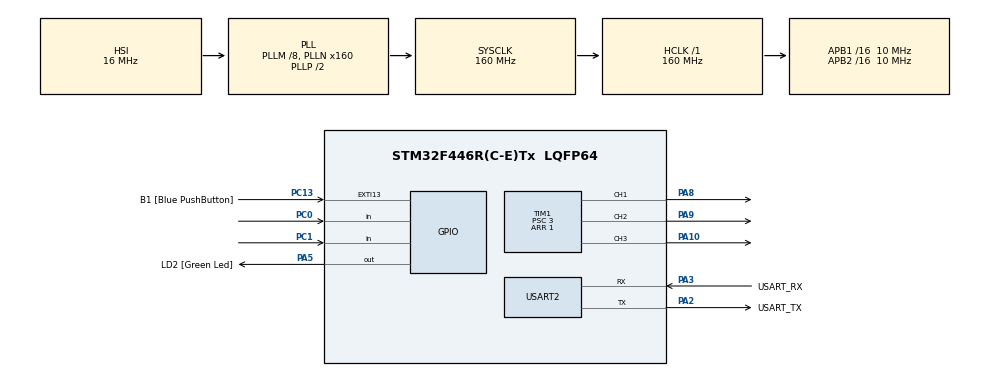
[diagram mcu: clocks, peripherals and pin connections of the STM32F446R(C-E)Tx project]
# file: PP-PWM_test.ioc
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Mcu.Family=STM32F4
Mcu.Name=STM32F446R(C-E)Tx
Mcu.Package=LQFP64
NVIC.PriorityGroup=NVIC_PRIORITYGROUP_0
NVIC.TIM1_UP_TIM10_IRQn=true\:0\:0\:false\:false\:true\:true\:true\:true
NVIC.TIM2_IRQn=true\:0\:0\:false\:false\:true\:true\:true\:true
NVIC.TIM6_DAC_IRQn=true\:0\:0\:false\:false\:true\:true\:true\:true
NVIC.TIM7_IRQn=true\:0\:0\:false\:false\:true\:true\:true\:true
PA10.Signal=S_TIM1_CH3
PA13.GPIO_Label=TMS
PA13.Mode=Serial_Wire
PA13.Signal=SYS_JTMS-SWDIO
PA14.GPIO_Label=TCK
PA14.Mode=Serial_Wire
PA14.Signal=SYS_JTCK-SWCLK
PA2.GPIO_Label=USART_TX
PA2.Mode=Asynchronous
PA2.Signal=USART2_TX
PA3.GPIO_Label=USART_RX
PA3.Mode=Asynchronous
PA3.Signal=USART2_RX
PA5.GPIO_Label=LD2 [Green Led]
PA5.Signal=GPIO_Output
PA8.Signal=S_TIM1_CH1
PA9.Signal=S_TIM1_CH2
PB3.GPIO_Label=SWO
PB3.Signal=SYS_JTDO-SWO
PC0.GPIO_PuPd=GPIO_PULLUP
PC0.Signal=GPIO_Input
PC1.GPIO_PuPd=GPIO_PULLUP
PC1.Signal=GPIO_Input
PC13.GPIO_Label=B1 [Blue PushButton]
PC13.GPIO_ModeDefaultEXTI=GPIO_MODE_IT_FALLING
PC13.Signal=GPXTI13
PC14-OSC32_IN.Mode=LSE-External-Oscillator
PC14-OSC32_IN.Signal=RCC_OSC32_IN
PC15-OSC32_OUT.Mode=LSE-External-Oscillator
PC15-OSC32_OUT.Signal=RCC_OSC32_OUT
PH0-OSC_IN.Mode=HSE-External-Oscillator
PH0-OSC_IN.Signal=RCC_OSC_IN
PH1-OSC_OUT.Mode=HSE-External-Oscillator
PH1-OSC_OUT.Signal=RCC_OSC_OUT
ProjectManager.HeapSize=0x200
ProjectManager.StackSize=0x400
ProjectManager.TargetToolchain=STM32CubeIDE
RCC.48MHZClocksFreq_Value=84000000
RCC.AHBFreq_Value=160000000
RCC.APB1CLKDivider=RCC_HCLK_DIV16
RCC.APB1Freq_Value=10000000
RCC.APB1TimFreq_Value=20000000
RCC.APB2CLKDivider=RCC_HCLK_DIV16
RCC.APB2Freq_Value=10000000
RCC.APB2TimFreq_Value=20000000
RCC.CortexFreq_Value=160000000
RCC.FLatency-AdvancedSettings=FLASH_LATENCY_5
RCC.HCLKFreq_Value=160000000
RCC.HSE_VALUE=8000000
RCC.HSI_VALUE=16000000
RCC.PLLM=8
RCC.PLLN=160
RCC.SYSCLKFreq_VALUE=160000000
RCC.SYSCLKSource=RCC_SYSCLKSOURCE_PLLCLK
RCC.USBFreq_Value=160000000
RCC.VCOOutputFreq_Value=320000000
SH.S_TIM1_CH1.0=TIM1_CH1,PWM Generation1 CH1
SH.S_TIM1_CH2.0=TIM1_CH2,PWM Generation2 CH2
SH.S_TIM1_CH3.0=TIM1_CH3,PWM Generation3 CH3
TIM1.AutoReloadPreload=TIM_AUTORELOAD_PRELOAD_DISABLE
TIM1.Channel-PWM\ Generation1\ CH1=TIM_CHANNEL_1
TIM1.Channel-PWM\ Generation2\ CH2=TIM_CHANNEL_2
TIM1.Channel-PWM\ Generation3\ CH3=TIM_CHANNEL_3
TIM1.ClockDivision=TIM_CLOCKDIVISION_DIV1
TIM1.CounterMode=TIM_COUNTERMODE_CENTERALIGNED3
TIM1.Period=1
TIM1.Prescaler=3
TIM2.Period=1
TIM6.AutoReloadPreload=TIM_AUTORELOAD_PRELOAD_DISABLE
TIM6.Period=1
TIM6.Prescaler=1
TIM7.Period=2500
USART2.VirtualMode=VM_ASYNC
VP_TIM1_VS_ClockSourceINT.Mode=Internal
VP_TIM2_VS_ClockSourceINT.Mode=Internal
VP_TIM6_VS_ClockSourceINT.Mode=Enable_Timer
VP_TIM7_VS_ClockSourceINT.Mode=Enable_Timer
board=NUCLEO-F446RE

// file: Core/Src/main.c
/* USER CODE BEGIN Header */
/**
  ******************************************************************************
  * @file           : main.c
  * @brief          : Main program body
  ******************************************************************************
  * @attention
  *
  * Copyright (c) 2026 STMicroelectronics.
  * All rights reserved.
  *
  * This software is licensed under terms that can be found in the LICENSE file
  * in the root directory of this software component.
  * If no LICENSE file comes with this software, it is provided AS-IS.
  *
  ******************************************************************************
  */
/* USER CODE END Header */
#include "main.h"

/* USER CODE BEGIN Includes */
#include<stdlib.h>
#include<stdint.h>
#include "lut.h"
/* USER CODE END Includes */

/* USER CODE BEGIN PTD */
enum pulse_type{
	Async,
	SyncMp,
	S3p,
	W3p,
	CHM,
	SHE,
	HO
};
/* USER CODE END PTD */

TIM_HandleTypeDef htim1;
TIM_HandleTypeDef htim2;
TIM_HandleTypeDef htim6;
TIM_HandleTypeDef htim7;

UART_HandleTypeDef huart2;

/* USER CODE BEGIN PV */
uint32_t alpha_sort[3][90];
uint32_t alpha_est[3][90];
uint16_t alpha_cur[3][90];
int randnum;
int alpha_num = 7;
int alpha_num_cur = 7;
float ratio = 0.0;
float AMP;
float OFFSET;
float dutyu;
float dutyv;
float dutyw;
float dutyun;
float dutyvn;
float dutywn;
float Asdutyu;
float Asdutyv;
float Asdutyw;
int dir;
int motorState = 0;
int ampINT = 0;
int transit = 0;//Async->0 PP-PWM->1 Sync->2
float frq;
float basfrq = 1;
float basfrq_Jerk = 0.0;
int JerkPole;
int tca_cnt = 0;
int tcb_cnt = 0;
int tcb2_cnt = 0;
int pulse_mode;
int currient_pulse;
int pnum_PWM;
int pnum_temp;
float PER;
float PER_PWM;
/* USER CODE END PV */

void SystemClock_Config(void);
static void MX_GPIO_Init(void);
static void MX_USART2_UART_Init(void);
static void MX_TIM1_Init(void);
static void MX_TIM6_Init(void);
static void MX_TIM2_Init(void);
static void MX_TIM7_Init(void);
/* USER CODE BEGIN PFP */

float min(float a, float b);
float max(float a, float b);
void swap (uint32_t *x, uint32_t *y);
void shell_sort (void);
void makePER(const int alpha[][alpha_num], const int pole[], int amp);

/* USER CODE END PFP */

/* USER CODE BEGIN 0 */
void HAL_TIM_PeriodElapsedCallback(TIM_HandleTypeDef *htim){
    if(htim == &htim1){
    	if(transit == 0){
    		PER_PWM = 2500000 / frq;
    		dutyu = Asdutyu * AMP / 32767 + OFFSET;
    		dutyv = Asdutyv * AMP / 32767 + OFFSET;
    		dutyw = Asdutyw * AMP / 32767 + OFFSET;
    	}
    	else if(transit == 2){
    		PER_PWM = 2500000 / (basfrq*pnum_PWM);
    		pnum_temp = (pnum_PWM*2)/3;
    		if(TIM1->CNT > (uint16_t)(PER_PWM/2)){
    			dutyu = SYNC[(pnum_PWM-3)/6 - 1][tca_cnt%(pnum_PWM*2)] * AMP / 32767 + OFFSET;
    		    dutyv = SYNC[(pnum_PWM-3)/6 - 1][(tca_cnt+pnum_temp)%(pnum_PWM*2)] * AMP / 32767 + OFFSET;
    		    dutyw = SYNC[(pnum_PWM-3)/6 - 1][(tca_cnt+pnum_temp*2)%(pnum_PWM*2)] * AMP / 32767 + OFFSET;
    		    tca_cnt++;
    		    if(tca_cnt >= (pnum_PWM*2)){
    		    	if(pulse_mode == 0 && transit == 2){
    		    		transit = 0;
    		    		tcb2_cnt = 0;
    		    	}
    		    	else if(pulse_mode >= 2 && transit == 2){
    		    		HAL_TIM_PWM_Stop(&htim1, TIM_CHANNEL_1);
    		    		HAL_TIM_PWM_Stop(&htim1, TIM_CHANNEL_2);
    		    		HAL_TIM_PWM_Stop(&htim1, TIM_CHANNEL_3);
    		    		GPIO_InitTypeDef GPIO_InitStruct;
    		    		GPIO_InitStruct.Pin = GPIO_PIN_8 | GPIO_PIN_9 | GPIO_PIN_10;
    		    		GPIO_InitStruct.Mode = GPIO_MODE_OUTPUT_PP;
    		    		GPIO_InitStruct.Pull = GPIO_NOPULL;
    		    		GPIO_InitStruct.Speed = GPIO_SPEED_FREQ_HIGH;
    		    		HAL_GPIO_Init(GPIOA, &GPIO_InitStruct);
    		    		transit = 1;
    		    		tcb_cnt = 0;
    		    	}
    		    	tca_cnt = 0;
    		    }
    		}
    		else{
    			dutyu = SYNC[(pnum_PWM-3)/6 - 1][tca_cnt%(pnum_PWM*2)] * AMP / 32767 + OFFSET;
    		    dutyv = SYNC[(pnum_PWM-3)/6 - 1][(tca_cnt+pnum_temp)%(pnum_PWM*2)] * AMP / 32767 + OFFSET;
    		    dutyw = SYNC[(pnum_PWM-3)/6 - 1][(tca_cnt+pnum_temp*2)%(pnum_PWM*2)] * AMP / 32767 + OFFSET;
    		    tca_cnt++;
    		}
    	}
    	/*if(transit == 0 || pulse_mode <= 1){
    		if(pulse_mode == 0){
    			PER_PWM = 2500000 / frq;
    			dutyu = Asdutyu * AMP / 32767 + OFFSET;
    			dutyv = Asdutyv * AMP / 32767 + OFFSET;
    			dutyw = Asdutyw * AMP / 32767 + OFFSET;
    		}
    		else{
    			PER_PWM = 2500000 / (basfrq*pnum_PWM);
    			pnum_temp = (pnum_PWM*2)/3;
    			if(TIM1->CNT > (uint16_t)(PER_PWM/2)){
    				dutyu = SYNC[(pnum_PWM-3)/6 - 1][tca_cnt%(pnum_PWM*2)] * AMP / 32767 + OFFSET;
    			    dutyv = SYNC[(pnum_PWM-3)/6 - 1][(tca_cnt+pnum_temp)%(pnum_PWM*2)] * AMP / 32767 + OFFSET;
    			    dutyw = SYNC[(pnum_PWM-3)/6 - 1][(tca_cnt+pnum_temp*2)%(pnum_PWM*2)] * AMP / 32767 + OFFSET;
    			    tca_cnt++;
    			    if(tca_cnt >= (pnum_PWM*2)){
    			    	tca_cnt = 0;
    			    }
    			}
    			else{
    			    dutyu = SYNC[(pnum_PWM-3)/6 - 1][tca_cnt%(pnum_PWM*2)] * AMP / 32767 + OFFSET;
    			    dutyv = SYNC[(pnum_PWM-3)/6 - 1][(tca_cnt+pnum_temp)%(pnum_PWM*2)] * AMP / 32767 + OFFSET;
    			    dutyw = SYNC[(pnum_PWM-3)/6 - 1][(tca_cnt+pnum_temp*2)%(pnum_PWM*2)] * AMP / 32767 + OFFSET;
    			    tca_cnt++;
    			}
    		}
    	}*/
    	TIM1->ARR = (uint16_t)PER_PWM;
    	TIM1->CCR1 = (uint16_t)(PER_PWM*dutyu);
    	TIM1->CCR2 = (uint16_t)(PER_PWM*dutyv);
    	TIM1->CCR3 = (uint16_t)(PER_PWM*dutyw);
    }
    if(htim == &htim6){
    	if(tcb_cnt == 0){
    		if(pulse_mode == 0 && transit == 1){
    			GPIO_InitTypeDef GPIO_InitStruct;
    			GPIO_InitStruct.Pin = GPIO_PIN_8 | GPIO_PIN_9 | GPIO_PIN_10;
    			GPIO_InitStruct.Mode = GPIO_MODE_AF_PP;
    			GPIO_InitStruct.Pull = GPIO_NOPULL;
    			GPIO_InitStruct.Speed = GPIO_SPEED_FREQ_HIGH;
    			GPIO_InitStruct.Alternate = GPIO_AF1_TIM1;
    			HAL_GPIO_Init(GPIOA, &GPIO_InitStruct);
    			HAL_TIM_PWM_Start(&htim1, TIM_CHANNEL_1);
    			HAL_TIM_PWM_Start(&htim1, TIM_CHANNEL_2);
    			HAL_TIM_PWM_Start(&htim1, TIM_CHANNEL_3);
    			tcb2_cnt = 0;
    			transit = 0;

    		}
    		else if(pulse_mode == 1 && transit == 1){
    			GPIO_InitTypeDef GPIO_InitStruct;
    			GPIO_InitStruct.Pin = GPIO_PIN_8 | GPIO_PIN_9 | GPIO_PIN_10;
    			GPIO_InitStruct.Mode = GPIO_MODE_AF_PP;
    			GPIO_InitStruct.Pull = GPIO_NOPULL;
    			GPIO_InitStruct.Speed = GPIO_SPEED_FREQ_HIGH;
    			GPIO_InitStruct.Alternate = GPIO_AF1_TIM1;
    			HAL_GPIO_Init(GPIOA, &GPIO_InitStruct);
    			HAL_TIM_PWM_Start(&htim1, TIM_CHANNEL_1);
    			HAL_TIM_PWM_Start(&htim1, TIM_CHANNEL_2);
    			HAL_TIM_PWM_Start(&htim1, TIM_CHANNEL_3);
    			tca_cnt = 0;
    			transit = 2;
    		}
    		alpha_num_cur = alpha_num;
    		for(int i = 0; i < alpha_num_cur*12+6; i++){
    			alpha_cur[0][i] = (uint16_t)(alpha_est[0][i]);
    			alpha_cur[1][i] = (uint16_t)(alpha_est[1][i]);
    			alpha_cur[2][i] = (uint16_t)(alpha_est[2][i]);
    		}
    		HAL_GPIO_WritePin(GPIOA, GPIO_PIN_9, GPIO_PIN_SET);
    		HAL_GPIO_WritePin(GPIOA, GPIO_PIN_10, GPIO_PIN_RESET);
    	}
    	if(alpha_cur[1][tcb_cnt] == 1){
    		if(alpha_cur[2][tcb_cnt]==1){HAL_GPIO_WritePin(GPIOA, GPIO_PIN_8, GPIO_PIN_SET);}
    		else if(alpha_cur[2][tcb_cnt]==2){HAL_GPIO_WritePin(GPIOA, GPIO_PIN_9, GPIO_PIN_SET);}
    		else if(alpha_cur[2][tcb_cnt]==4){HAL_GPIO_WritePin(GPIOA, GPIO_PIN_10, GPIO_PIN_SET);}
    		}
    	else if(alpha_cur[1][tcb_cnt] == 0){
    		if(alpha_cur[2][tcb_cnt]==1){HAL_GPIO_WritePin(GPIOA, GPIO_PIN_8, GPIO_PIN_RESET);}
    		else if(alpha_cur[2][tcb_cnt]==2){HAL_GPIO_WritePin(GPIOA, GPIO_PIN_9, GPIO_PIN_RESET);}
    		else if(alpha_cur[2][tcb_cnt]==4){HAL_GPIO_WritePin(GPIOA, GPIO_PIN_10, GPIO_PIN_RESET);}
    	}
    	TIM6->ARR = alpha_cur[0][tcb_cnt];
    	tcb_cnt += 1;
    	if(tcb_cnt > alpha_num_cur*12+6 - 1){tcb_cnt = 0;}
    }
    if(htim == &htim2){
    	if(tcb2_cnt == 0){
    		if(pulse_mode >= 2 && transit == 0){
    			HAL_TIM_PWM_Stop(&htim1, TIM_CHANNEL_1);
    			HAL_TIM_PWM_Stop(&htim1, TIM_CHANNEL_2);
    			HAL_TIM_PWM_Stop(&htim1, TIM_CHANNEL_3);
    			GPIO_InitTypeDef GPIO_InitStruct;
    			GPIO_InitStruct.Pin = GPIO_PIN_8 | GPIO_PIN_9 | GPIO_PIN_10;
    			GPIO_InitStruct.Mode = GPIO_MODE_OUTPUT_PP;
    			GPIO_InitStruct.Pull = GPIO_NOPULL;
    			GPIO_InitStruct.Speed = GPIO_SPEED_FREQ_HIGH;
    			HAL_GPIO_Init(GPIOA, &GPIO_InitStruct);
    			transit = 1;
    			tcb_cnt = 0;
    		}
    		else if(pulse_mode == 1 && transit == 0){
    			transit = 2;
    			tca_cnt = 0;
    		}
    	}
    	TIM2->ARR = (uint32_t)(303030.30303 / basfrq);
    	if(pulse_mode == 0 || transit == 0){
    		Asdutyu = SYNC[4][tcb2_cnt%66];
    		Asdutyv = SYNC[4][(tcb2_cnt+22)%66];
    		Asdutyw = SYNC[4][(tcb2_cnt+44)%66];
    	}
    	tcb2_cnt++;
    	tcb2_cnt %= 66;
    }
    if(htim == &htim7){
    	basfrq += (0.0005 * dir);
    	if(JerkPole != 0){basfrq_Jerk += (0.008*JerkPole);}
    	randnum = rand();
    }
}
/* USER CODE END 0 */

int main(void)
{

  /* MCU Configuration--------------------------------------------------------*/

  /* Reset of all peripherals, Initializes the Flash interface and the Systick. */
  HAL_Init();

  /* Configure the system clock */
  SystemClock_Config();

  /* Initialize all configured peripherals */
  MX_GPIO_Init();
  MX_USART2_UART_Init();
  MX_TIM1_Init();
  MX_TIM6_Init();
  MX_TIM2_Init();
  MX_TIM7_Init();
  /* USER CODE BEGIN 2 */
  makePER(_7alpha, _7alpha_pole, ampINT);
  HAL_TIM_Base_Start_IT(&htim1);
  HAL_TIM_Base_Start_IT(&htim2);
  HAL_TIM_Base_Start_IT(&htim6);
  HAL_TIM_Base_Start_IT(&htim7);
  HAL_TIM_PWM_Start(&htim1, TIM_CHANNEL_1);
  HAL_TIM_PWM_Start(&htim1, TIM_CHANNEL_2);
  HAL_TIM_PWM_Start(&htim1, TIM_CHANNEL_3);

  pulse_mode = Async;
  frq = 525;
  basfrq = 0.1;
  AMP = min(max(basfrq * 0.0103, 0), 1);
  OFFSET = min(max(0.5 - basfrq * 0.00515, 0), 0.5);
  /* USER CODE END 2 */

  /* Infinite loop */
  /* USER CODE BEGIN WHILE */
  while (1)
  {
	  if(basfrq < 0.1){basfrq = 0.1;}
	  if ((GPIOC->IDR & GPIO_PIN_0) == 0){
		  //acceleration setting
		  motorState = 1;
		  if(basfrq_Jerk < basfrq){
			  JerkPole = 1;
			  ratio = min(max(basfrq_Jerk * 7.731 - 5.8903, 1), 501);
			  AMP = min(max(basfrq_Jerk * 0.0185, 0), 1);
	          OFFSET = min(max(0.5 - basfrq_Jerk * 0.00925, 0), 0.5);
		  }
		  else{
			  dir = 1;
			  JerkPole = 0;
			  basfrq_Jerk = basfrq + 1;
			  ratio = min(max(basfrq * 7.731 - 5.8903, 1), 501);
			  AMP = min(max(basfrq * 0.0185, 0), 1);
			  OFFSET = min(max(0.5 - basfrq * 0.00925, 0), 0.5);
		  }
	  }
	  else if ((GPIOC->IDR & GPIO_PIN_1) == 0){
		  motorState = -1;
		  if(basfrq_Jerk < basfrq){
			  JerkPole = 1;
			  ratio = min(max(basfrq_Jerk * 6.863, 1), 501);
			  AMP = min(max(basfrq_Jerk * 0.0103, 0), 1);
	            OFFSET = min(max(0.5 - basfrq_Jerk * 0.00515, 0), 0.5);
	  		}
	  		else{
	  			dir = -1;
	  			JerkPole = 0;
	  			basfrq_Jerk = basfrq;
	  			ratio = min(max(basfrq * 6.863, 1), 501);
	  			AMP = min(max(basfrq * 0.0103, 0), 1);
	            OFFSET = min(max(0.5 - basfrq * 0.00515, 0), 0.5);
	  		}
	  	}
	  	else{
	  		dir = 0;
	  		if(basfrq_Jerk > 0){
	  			JerkPole = -1;
	  			ratio = min(max(basfrq_Jerk * 6.863, 10), 501);
	  			AMP = min(max(basfrq_Jerk * 0.0103, 0), 1);
	            OFFSET = min(max(0.5 - basfrq_Jerk * 0.00515, 0), 0.5);
	  		}
	  		else{
	  			JerkPole = 0;
	  			basfrq_Jerk = 0;
	  			motorState = 0;
	  		}
	  	}

	  	if(motorState == 1){
	  		/*if(basfrq >= 80 && dir == 1){alpha_num = 0;}
	  		else if(basfrq >= 59){pulse_mode = CHM;alpha_num = 1;}
	  		else if(basfrq >= 57){pulse_mode = CHM;alpha_num = 2;}
	  		else if(basfrq >= 43.5){pulse_mode = CHM;alpha_num = 3;}
	  		else if(basfrq >= 37){pulse_mode = CHM;alpha_num = 4;}
	  		else if(basfrq >= 30){pulse_mode = CHM;alpha_num = 5;}
	  		else if(basfrq >= 27){pulse_mode = CHM;alpha_num = 6;}
	      	else if(basfrq >= 24){pulse_mode = CHM;alpha_num = 7;}
	  		else if(basfrq >= 0){pulse_mode = Async;frq = 400;}*/

	  		/*if(basfrq >= 80 && dir == 1){pulse_mode = CHM;alpha_num = 0;}
	  		else if(basfrq >= 80){pulse_mode = CHM;alpha_num = 1;}
	  		else if(basfrq >= 65){pulse_mode = CHM;alpha_num = 2;}
	  		else if(basfrq >= 63){pulse_mode = CHM;alpha_num = 3;}
	  		else if(basfrq >= 45){pulse_mode = CHM;alpha_num = 4;}
	  		else if(basfrq >= 40){pulse_mode = CHM;alpha_num = 5;}
	  		else if(basfrq >= 38){pulse_mode = Async;frq = 1000;}
	  		else if(basfrq >= 10){pulse_mode = Async;frq = 14.28571*basfrq + 457.143;}
	  		else if(basfrq >= 0){pulse_mode = Async;frq = 600;}*/

	  		if(basfrq >= 45){pulse_mode = CHM;alpha_num = 3;}
	  		else if(basfrq >= 0){pulse_mode = Async;frq = 690 + randnum%100;}
	  	}
	  	else if(motorState == -1){
	  		/*if(basfrq >= 80 && dir == -1){pulse_mode = CHM;alpha_num = 0;}
	  		else if(basfrq >= 70.7){pulse_mode = CHM;alpha_num = 1;}
	  		else if(basfrq >= 63){pulse_mode = CHM;alpha_num = 2;}
	  		else if(basfrq >= 41){pulse_mode = CHM;alpha_num = 3;}
	  		else if(basfrq >= 34.5){pulse_mode = CHM;alpha_num = 4;}
	  		else if(basfrq >= 29){pulse_mode = CHM;alpha_num = 5;}
	  		else if(basfrq >= 25){pulse_mode = CHM;alpha_num = 6;}
	  		else if(basfrq >= 22.5){pulse_mode = CHM;alpha_num = 7;}
	  		else if(basfrq >= 5.6){pulse_mode = Async;frq = 400;}
	  		else if(basfrq >= 5){pulse_mode = Async;frq = 350;}
	  		else if(basfrq >= 4.3){pulse_mode = Async;frq = 311;}
	  		else if(basfrq >= 3.4){pulse_mode = Async;frq = 294;}
	  		else if(basfrq >= 2.7){pulse_mode = Async;frq = 262;}
	  		else if(basfrq >= 2.0){pulse_mode = Async;frq = 233;}
	  		else if(basfrq >= 1.5){pulse_mode = Async;frq = 223;}
	  		else if(basfrq >= 0.5){pulse_mode = Async;frq = 196;}
	  		else if(basfrq >= 0){pulse_mode = Async;frq = 175;}*/
	  		if(basfrq >= 80 && dir == -1){pulse_mode = CHM;alpha_num = 0;}
	  		else if(basfrq >= 75){pulse_mode = CHM;alpha_num = 1;}
	  		else if(basfrq >= 66){pulse_mode = CHM;alpha_num = 3;}
	  		else if(basfrq >= 44){pulse_mode = CHM;alpha_num = 4;}
	  		else if(basfrq >= 39){pulse_mode = CHM;alpha_num = 5;}
	  		else if(basfrq >= 10){pulse_mode = Async;frq = 14.28571*basfrq + 457.143;}
	  		else if(basfrq >= 0){pulse_mode = Async;frq = 600;}
	  	}

	  	if(alpha_num == 7 && pulse_mode == 4){ampINT = (uint16_t)ratio; makePER(_7alpha, _7alpha_pole, ampINT);}
	  	else if(alpha_num == 6 && pulse_mode == 4){ampINT = (uint16_t)ratio; makePER(_6alpha, _6alpha_pole, ampINT);}
	  	else if(alpha_num == 5 && pulse_mode == 4){ampINT = (uint16_t)ratio; makePER(_5alpha, _5alpha_pole, ampINT);}
	  	else if(alpha_num == 4 && pulse_mode == 4){ampINT = (uint16_t)ratio; makePER(_4alpha, _4alpha_pole, ampINT);}
	  	else if(alpha_num == 3 && pulse_mode == 4){ampINT = (uint16_t)ratio; makePER(_3alpha, _3alpha_pole, ampINT);}
	  	else if(alpha_num == 2 && pulse_mode == 4){ampINT = (uint16_t)ratio; makePER(_2alpha, _2alpha_pole, ampINT);}
	  	else if(alpha_num == 1 && pulse_mode == 4){ampINT = (uint16_t)ratio; makePER(_1alpha, _1alpha_pole, ampINT);}
	  	else if(alpha_num == 0 && pulse_mode == 4){ampINT = (uint16_t)ratio; makePER(_1alpha, _1alpha_pole, 100);}
    /* USER CODE END WHILE */

  }
}

void SystemClock_Config(void)
{
  RCC_OscInitTypeDef RCC_OscInitStruct = {0};
  RCC_ClkInitTypeDef RCC_ClkInitStruct = {0};

  /** Configure the main internal regulator output voltage
  */
  __HAL_RCC_PWR_CLK_ENABLE();
  __HAL_PWR_VOLTAGESCALING_CONFIG(PWR_REGULATOR_VOLTAGE_SCALE1);

  /** Initializes the RCC Oscillators according to the specified parameters
  * in the RCC_OscInitTypeDef structure.
  */
  RCC_OscInitStruct.OscillatorType = RCC_OSCILLATORTYPE_HSI;
  RCC_OscInitStruct.HSIState = RCC_HSI_ON;
  RCC_OscInitStruct.HSICalibrationValue = RCC_HSICALIBRATION_DEFAULT;
  RCC_OscInitStruct.PLL.PLLState = RCC_PLL_ON;
  RCC_OscInitStruct.PLL.PLLSource = RCC_PLLSOURCE_HSI;
  RCC_OscInitStruct.PLL.PLLM = 8;
  RCC_OscInitStruct.PLL.PLLN = 160;
  RCC_OscInitStruct.PLL.PLLP = RCC_PLLP_DIV2;
  RCC_OscInitStruct.PLL.PLLQ = 2;
  RCC_OscInitStruct.PLL.PLLR = 2;
  if (HAL_RCC_OscConfig(&RCC_OscInitStruct) != HAL_OK)
  {
    Error_Handler();
  }

  /** Initializes the CPU, AHB and APB buses clocks
  */
  RCC_ClkInitStruct.ClockType = RCC_CLOCKTYPE_HCLK|RCC_CLOCKTYPE_SYSCLK
                              |RCC_CLOCKTYPE_PCLK1|RCC_CLOCKTYPE_PCLK2;
  RCC_ClkInitStruct.SYSCLKSource = RCC_SYSCLKSOURCE_PLLCLK;
  RCC_ClkInitStruct.AHBCLKDivider = RCC_SYSCLK_DIV1;
  RCC_ClkInitStruct.APB1CLKDivider = RCC_HCLK_DIV16;
  RCC_ClkInitStruct.APB2CLKDivider = RCC_HCLK_DIV16;

  if (HAL_RCC_ClockConfig(&RCC_ClkInitStruct, FLASH_LATENCY_5) != HAL_OK)
  {
    Error_Handler();
  }
}

static void MX_TIM1_Init(void)
{

  TIM_ClockConfigTypeDef sClockSourceConfig = {0};
  TIM_MasterConfigTypeDef sMasterConfig = {0};
  TIM_OC_InitTypeDef sConfigOC = {0};
  TIM_BreakDeadTimeConfigTypeDef sBreakDeadTimeConfig = {0};

  htim1.Instance = TIM1;
  htim1.Init.Prescaler = 3;
  htim1.Init.CounterMode = TIM_COUNTERMODE_CENTERALIGNED3;
  htim1.Init.Period = 1;
  htim1.Init.ClockDivision = TIM_CLOCKDIVISION_DIV1;
  htim1.Init.RepetitionCounter = 0;
  htim1.Init.AutoReloadPreload = TIM_AUTORELOAD_PRELOAD_DISABLE;
  if (HAL_TIM_Base_Init(&htim1) != HAL_OK)
  {
    Error_Handler();
  }
  sClockSourceConfig.ClockSource = TIM_CLOCKSOURCE_INTERNAL;
  if (HAL_TIM_ConfigClockSource(&htim1, &sClockSourceConfig) != HAL_OK)
  {
    Error_Handler();
  }
  if (HAL_TIM_PWM_Init(&htim1) != HAL_OK)
  {
    Error_Handler();
  }
  sMasterConfig.MasterOutputTrigger = TIM_TRGO_RESET;
  sMasterConfig.MasterSlaveMode = TIM_MASTERSLAVEMODE_DISABLE;
  if (HAL_TIMEx_MasterConfigSynchronization(&htim1, &sMasterConfig) != HAL_OK)
  {
    Error_Handler();
  }
  sConfigOC.OCMode = TIM_OCMODE_PWM1;
  sConfigOC.Pulse = 0;
  sConfigOC.OCPolarity = TIM_OCPOLARITY_HIGH;
  sConfigOC.OCNPolarity = TIM_OCNPOLARITY_HIGH;
  sConfigOC.OCFastMode = TIM_OCFAST_DISABLE;
  sConfigOC.OCIdleState = TIM_OCIDLESTATE_RESET;
  sConfigOC.OCNIdleState = TIM_OCNIDLESTATE_RESET;
  if (HAL_TIM_PWM_ConfigChannel(&htim1, &sConfigOC, TIM_CHANNEL_1) != HAL_OK)
  {
    Error_Handler();
  }
  if (HAL_TIM_PWM_ConfigChannel(&htim1, &sConfigOC, TIM_CHANNEL_2) != HAL_OK)
  {
    Error_Handler();
  }
  if (HAL_TIM_PWM_ConfigChannel(&htim1, &sConfigOC, TIM_CHANNEL_3) != HAL_OK)
  {
    Error_Handler();
  }
  sBreakDeadTimeConfig.OffStateRunMode = TIM_OSSR_DISABLE;
  sBreakDeadTimeConfig.OffStateIDLEMode = TIM_OSSI_DISABLE;
  sBreakDeadTimeConfig.LockLevel = TIM_LOCKLEVEL_OFF;
  sBreakDeadTimeConfig.DeadTime = 0;
  sBreakDeadTimeConfig.BreakState = TIM_BREAK_DISABLE;
  sBreakDeadTimeConfig.BreakPolarity = TIM_BREAKPOLARITY_HIGH;
  sBreakDeadTimeConfig.AutomaticOutput = TIM_AUTOMATICOUTPUT_DISABLE;
  if (HAL_TIMEx_ConfigBreakDeadTime(&htim1, &sBreakDeadTimeConfig) != HAL_OK)
  {
    Error_Handler();
  }
  HAL_TIM_MspPostInit(&htim1);

}

static void MX_TIM2_Init(void)
{

  TIM_ClockConfigTypeDef sClockSourceConfig = {0};
  TIM_MasterConfigTypeDef sMasterConfig = {0};

  htim2.Instance = TIM2;
  htim2.Init.Prescaler = 0;
  htim2.Init.CounterMode = TIM_COUNTERMODE_UP;
  htim2.Init.Period = 1;
  htim2.Init.ClockDivision = TIM_CLOCKDIVISION_DIV1;
  htim2.Init.AutoReloadPreload = TIM_AUTORELOAD_PRELOAD_DISABLE;
  if (HAL_TIM_Base_Init(&htim2) != HAL_OK)
  {
    Error_Handler();
  }
  sClockSourceConfig.ClockSource = TIM_CLOCKSOURCE_INTERNAL;
  if (HAL_TIM_ConfigClockSource(&htim2, &sClockSourceConfig) != HAL_OK)
  {
    Error_Handler();
  }
  sMasterConfig.MasterOutputTrigger = TIM_TRGO_RESET;
  sMasterConfig.MasterSlaveMode = TIM_MASTERSLAVEMODE_DISABLE;
  if (HAL_TIMEx_MasterConfigSynchronization(&htim2, &sMasterConfig) != HAL_OK)
  {
    Error_Handler();
  }

}

static void MX_TIM6_Init(void)
{

  TIM_MasterConfigTypeDef sMasterConfig = {0};

  htim6.Instance = TIM6;
  htim6.Init.Prescaler = 1;
  htim6.Init.CounterMode = TIM_COUNTERMODE_UP;
  htim6.Init.Period = 1;
  htim6.Init.AutoReloadPreload = TIM_AUTORELOAD_PRELOAD_DISABLE;
  if (HAL_TIM_Base_Init(&htim6) != HAL_OK)
  {
    Error_Handler();
  }
  sMasterConfig.MasterOutputTrigger = TIM_TRGO_RESET;
  sMasterConfig.MasterSlaveMode = TIM_MASTERSLAVEMODE_DISABLE;
  if (HAL_TIMEx_MasterConfigSynchronization(&htim6, &sMasterConfig) != HAL_OK)
  {
    Error_Handler();
  }

}

static void MX_TIM7_Init(void)
{

  TIM_MasterConfigTypeDef sMasterConfig = {0};

  htim7.Instance = TIM7;
  htim7.Init.Prescaler = 0;
  htim7.Init.CounterMode = TIM_COUNTERMODE_UP;
  htim7.Init.Period = 2500;
  htim7.Init.AutoReloadPreload = TIM_AUTORELOAD_PRELOAD_DISABLE;
  if (HAL_TIM_Base_Init(&htim7) != HAL_OK)
  {
    Error_Handler();
  }
  sMasterConfig.MasterOutputTrigger = TIM_TRGO_RESET;
  sMasterConfig.MasterSlaveMode = TIM_MASTERSLAVEMODE_DISABLE;
  if (HAL_TIMEx_MasterConfigSynchronization(&htim7, &sMasterConfig) != HAL_OK)
  {
    Error_Handler();
  }

}

static void MX_USART2_UART_Init(void)
{

  huart2.Instance = USART2;
  huart2.Init.BaudRate = 115200;
  huart2.Init.WordLength = UART_WORDLENGTH_8B;
  huart2.Init.StopBits = UART_STOPBITS_1;
  huart2.Init.Parity = UART_PARITY_NONE;
  huart2.Init.Mode = UART_MODE_TX_RX;
  huart2.Init.HwFlowCtl = UART_HWCONTROL_NONE;
  huart2.Init.OverSampling = UART_OVERSAMPLING_16;
  if (HAL_UART_Init(&huart2) != HAL_OK)
  {
    Error_Handler();
  }

}

static void MX_GPIO_Init(void)
{
  GPIO_InitTypeDef GPIO_InitStruct = {0};

  /* GPIO Ports Clock Enable */
  __HAL_RCC_GPIOC_CLK_ENABLE();
  __HAL_RCC_GPIOH_CLK_ENABLE();
  __HAL_RCC_GPIOA_CLK_ENABLE();
  __HAL_RCC_GPIOB_CLK_ENABLE();

  /*Configure GPIO pin Output Level */
  HAL_GPIO_WritePin(LD2_GPIO_Port, LD2_Pin, GPIO_PIN_RESET);

  /*Configure GPIO pin : B1_Pin */
  GPIO_InitStruct.Pin = B1_Pin;
  GPIO_InitStruct.Mode = GPIO_MODE_IT_FALLING;
  GPIO_InitStruct.Pull = GPIO_NOPULL;
  HAL_GPIO_Init(B1_GPIO_Port, &GPIO_InitStruct);

  /*Configure GPIO pins : PC0 PC1 */
  GPIO_InitStruct.Pin = GPIO_PIN_0|GPIO_PIN_1;
  GPIO_InitStruct.Mode = GPIO_MODE_INPUT;
  GPIO_InitStruct.Pull = GPIO_PULLUP;
  HAL_GPIO_Init(GPIOC, &GPIO_InitStruct);

  /*Configure GPIO pin : LD2_Pin */
  GPIO_InitStruct.Pin = LD2_Pin;
  GPIO_InitStruct.Mode = GPIO_MODE_OUTPUT_PP;
  GPIO_InitStruct.Pull = GPIO_NOPULL;
  GPIO_InitStruct.Speed = GPIO_SPEED_FREQ_LOW;
  HAL_GPIO_Init(LD2_GPIO_Port, &GPIO_InitStruct);

}

/* USER CODE BEGIN 4 */
float min(float a, float b){
    return (a < b) ? a : b;
}
float max(float a, float b) {
    return (a > b) ? a : b;
}

void swap (uint32_t *x, uint32_t *y){
	uint32_t temp;
	temp = *x;
	*x = *y;
	*y = temp;
}
void shell_sort (void){
	int i, j, h, array_size;
	array_size = alpha_num * 12 + 6;
	for(h = 1; h <= array_size/9; h = 3*h + 1);
	for( ; h > 0; h /= 3){
		for (i = h; i < array_size; i++){
			j = i;
			while((j > h - 1) && (alpha_sort[0][j-h] > alpha_sort[0][j])) {
				swap(&alpha_sort[0][j-h], &alpha_sort[0][j]);
				swap(&alpha_sort[1][j-h], &alpha_sort[1][j]);
				swap(&alpha_sort[2][j-h], &alpha_sort[2][j]);
				j -= h;
			}
		}
	}
}
void makePER(const int alpha[][alpha_num], const int pole[], int amp){
    int array_cnt = 0;
	int array_cnt_sus = 0;
	PER = 2500000 / basfrq;
	while(array_cnt < alpha_num){
		alpha_sort[0][array_cnt_sus] = (uint32_t)((alpha[amp][array_cnt]) * PER/36000) % (uint32_t)PER;
		alpha_sort[1][array_cnt_sus] = (pole[amp]+array_cnt_sus)%2;
		alpha_sort[2][array_cnt_sus] = 1;
		alpha_sort[0][array_cnt_sus+alpha_num*4] = (uint32_t)((12000 + alpha[amp][array_cnt])*PER/36000) % (uint32_t)PER;
		alpha_sort[1][array_cnt_sus+alpha_num*4] = (pole[amp]+array_cnt_sus)%2;
		alpha_sort[2][array_cnt_sus+alpha_num*4] = 2;
		alpha_sort[0][array_cnt_sus+alpha_num*8] = (uint32_t)((24000 + alpha[amp][array_cnt])*PER/36000) % (uint32_t)PER;
		alpha_sort[1][array_cnt_sus+alpha_num*8] = (pole[amp]+array_cnt_sus)%2;
		alpha_sort[2][array_cnt_sus+alpha_num*8] = 4;
		array_cnt++;
		array_cnt_sus++;
	}
	while(array_cnt > 0){
		array_cnt--;
		alpha_sort[0][array_cnt_sus] = (uint32_t)((18000 - alpha[amp][array_cnt]) * PER / 36000) % (uint32_t)PER;
		alpha_sort[1][array_cnt_sus] = (pole[amp]+array_cnt_sus)%2;
		alpha_sort[2][array_cnt_sus] = 1;
		alpha_sort[0][array_cnt_sus+alpha_num*4] = (uint32_t)((30000 - alpha[amp][array_cnt])*PER/36000) % (uint32_t)PER;
		alpha_sort[1][array_cnt_sus+alpha_num*4] = (pole[amp]+array_cnt_sus)%2;
		alpha_sort[2][array_cnt_sus+alpha_num*4] = 2;
		alpha_sort[0][array_cnt_sus+alpha_num*8] = (uint32_t)((42000 - alpha[amp][array_cnt])*PER/36000) % (uint32_t)PER;
		alpha_sort[1][array_cnt_sus+alpha_num*8] = (pole[amp]+array_cnt_sus)%2;
		alpha_sort[2][array_cnt_sus+alpha_num*8] = 4;
		array_cnt_sus++;
	}
	while(array_cnt < alpha_num){
		alpha_sort[0][array_cnt_sus] = (uint32_t)((18000 + alpha[amp][array_cnt]) * PER / 36000) % (uint32_t)PER;
		alpha_sort[1][array_cnt_sus] = (pole[amp]+array_cnt_sus+1)%2;
		alpha_sort[2][array_cnt_sus] = 1;
		alpha_sort[0][array_cnt_sus+alpha_num*4] = (uint32_t)((30000 + alpha[amp][array_cnt])*PER/36000) % (uint32_t)PER;
		alpha_sort[1][array_cnt_sus+alpha_num*4] = (pole[amp]+array_cnt_sus+1)%2;
		alpha_sort[2][array_cnt_sus+alpha_num*4] = 2;
		alpha_sort[0][array_cnt_sus+alpha_num*8] = (uint32_t)((42000 + alpha[amp][array_cnt])*PER/36000) % (uint32_t)PER;
		alpha_sort[1][array_cnt_sus+alpha_num*8] = (pole[amp]+array_cnt_sus+1)%2;
		alpha_sort[2][array_cnt_sus+alpha_num*8] = 4;
		array_cnt++;
		array_cnt_sus++;
	}
	while(array_cnt > 0){
		array_cnt--;
		alpha_sort[0][array_cnt_sus] = (uint32_t)((36000 - alpha[amp][array_cnt]) * PER / 36000) % (uint32_t)PER;
		alpha_sort[1][array_cnt_sus] = (pole[amp]+array_cnt_sus+1)%2;
		alpha_sort[2][array_cnt_sus] = 1;
		alpha_sort[0][array_cnt_sus+alpha_num*4] = (uint32_t)((48000 - alpha[amp][array_cnt])*PER/36000) % (uint32_t)PER;
		alpha_sort[1][array_cnt_sus+alpha_num*4] = (pole[amp]+array_cnt_sus+1)%2;
		alpha_sort[2][array_cnt_sus+alpha_num*4] = 2;
		alpha_sort[0][array_cnt_sus+alpha_num*8] = (uint32_t)((60000 - alpha[amp][array_cnt])*PER/36000) % (uint32_t)PER;
		alpha_sort[1][array_cnt_sus+alpha_num*8] = (pole[amp]+array_cnt_sus+1)%2;
		alpha_sort[2][array_cnt_sus+alpha_num*8] = 4;
		array_cnt_sus++;
	}
	alpha_sort[2][array_cnt_sus+alpha_num*8] = 1;
	alpha_sort[2][array_cnt_sus+alpha_num*8+3] = 1;
	alpha_sort[2][array_cnt_sus+alpha_num*8+1] = 2;
	alpha_sort[2][array_cnt_sus+alpha_num*8+4] = 2;
	alpha_sort[2][array_cnt_sus+alpha_num*8+2] = 4;
	alpha_sort[2][array_cnt_sus+alpha_num*8+5] = 4;
	for(int i=0; i<3; i++){
		alpha_sort[0][array_cnt_sus+alpha_num*8] = (uint32_t)(i * PER / 3) % (uint32_t)PER;
		alpha_sort[0][array_cnt_sus+alpha_num*8+3] = (uint32_t)((3 + i*2) * PER / 6) % (uint32_t)PER;
		alpha_sort[1][array_cnt_sus+alpha_num*8] = (pole[amp]+1)%2;
		alpha_sort[1][array_cnt_sus+alpha_num*8+3] = (pole[amp]+2)%2;
		array_cnt_sus++;
	}
	array_cnt = 0;
	shell_sort();
	for(int i = 0; i < alpha_num*12+6 - 1; i++){
		alpha_sort[0][i] = alpha_sort[0][i+1] - alpha_sort[0][i];
		if(alpha_sort[0][i] < 60){alpha_sort[0][i] = 60;}
	}
	alpha_sort[0][alpha_num*12+6 - 1] = (uint32_t)PER - alpha_sort[0][alpha_num*12+6 - 1];
	if(alpha_sort[0][alpha_num*12+6 - 1] < 60){alpha_sort[0][alpha_num*12+6 - 1] = 60;}
	for(int i = 0; i < alpha_num*12+6; i++){
		alpha_est[0][i] = alpha_sort[0][i]*4;
		alpha_est[1][i] = alpha_sort[1][i];
		alpha_est[2][i] = alpha_sort[2][i];
	}
}
/* USER CODE END 4 */

void Error_Handler(void)
{
  __disable_irq();
  while (1)
  {
  }
}
